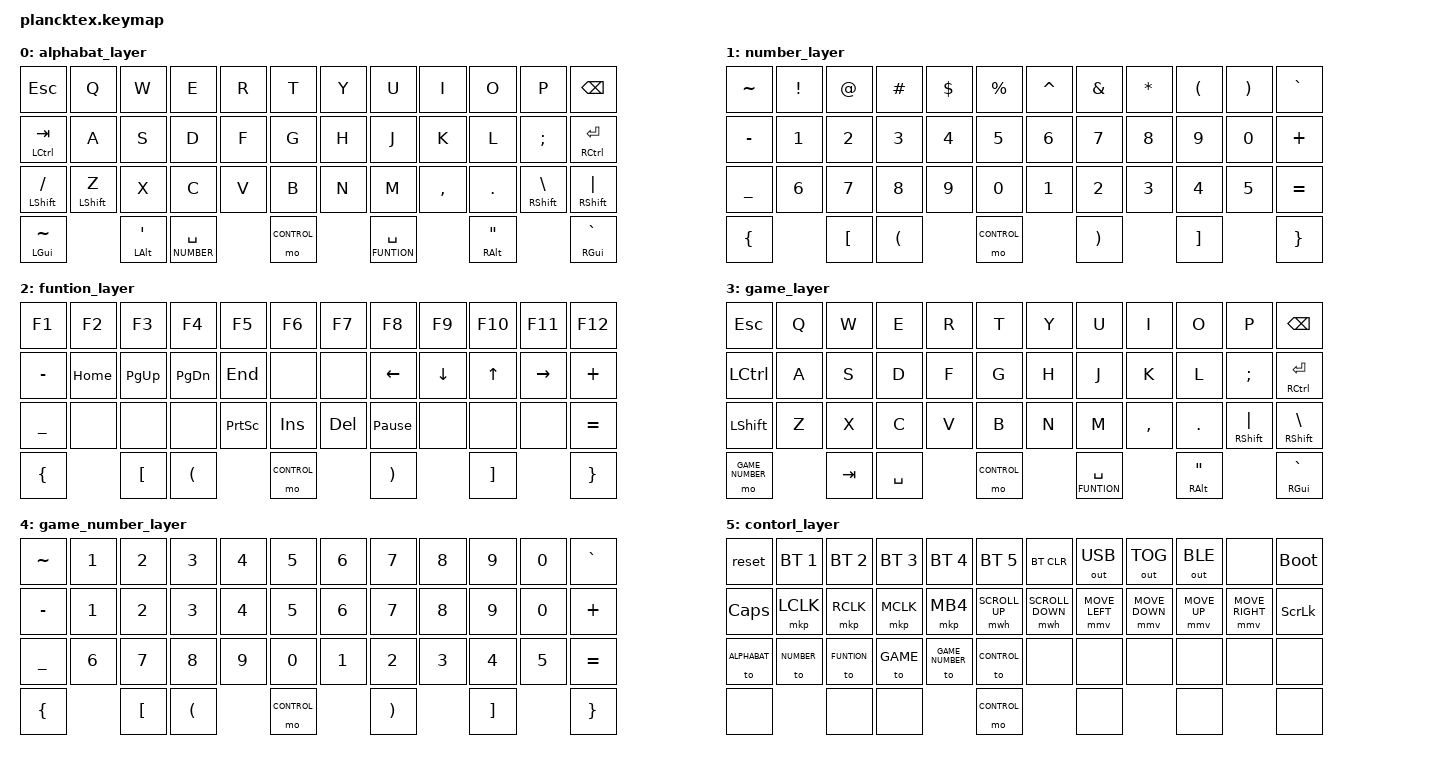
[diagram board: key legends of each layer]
#include <behaviors.dtsi>
#include <dt-bindings/zmk/keys.h>
#include <dt-bindings/zmk/bt.h>
#include <dt-bindings/zmk/outputs.h>
#include <dt-bindings/zmk/mouse.h>

#define ALPHABAT 0
#define NUMBER 1
#define FUNTION 2
#define GAME 3
#define GAME_NUMBER 4
#define CONTROL 5
// #define NONE 6

&kscan0 {
    debounce-press-ms = <10>;
    debounce-release-ms = <10>;
};

/{
  keymap {
	compatible = "zmk,keymap";

	alphabat_layer {
	  bindings = <	
		&kp ESCAPE &kp Q &kp W &kp E &kp R &kp T &kp Y &kp U &kp I                &kp O	&kp P	       &kp BACKSPACE
		&mt LCTRL TAB   	 &kp A &kp S &kp D &kp F &kp G &kp H &kp J &kp K     		&kp L   &kp SEMI       &mt RCTRL ENTER
		&mt LSHFT SLASH 	 &mt LSHFT Z &kp X &kp C &kp V &kp B &kp N &kp M &kp COMMA      &kp DOT &mt RSHFT BACKSLASH &mt RSHFT PIPE 
		&mt LGUI TILDE 	 &mt LALT SINGLE_QUOTE &lt NUMBER SPACE &mo CONTROL &lt FUNTION SPACE &mt RALT DOUBLE_QUOTES &mt RGUI GRAVE
		>;
	};

	number_layer {
	  bindings = <	
		&kp TILDE	 &kp EXCLAMATION &kp AT_SIGN &kp HASH &kp DOLLAR &kp PERCENT &kp CARET &kp AMPERSAND &kp ASTERISK &kp LEFT_PARENTHESIS &kp RIGHT_PARENTHESIS &kp GRAVE
		&kp MINUS	 &kp N1 &kp N2 &kp N3 &kp N4 &kp N5 &kp N6 &kp N7 &kp N8 &kp N9 &kp N0    	      &kp PLUS
		&kp UNDERSCORE &kp N6 &kp N7 &kp N8 &kp N9 &kp N0  &kp N1  &kp N2  &kp N3  &kp N4 	&kp N5		      &kp EQUAL
		&kp LEFT_BRACE &kp LEFT_BRACKET &kp LEFT_PARENTHESIS &mo CONTROL &kp RIGHT_PARENTHESIS &kp RIGHT_BRACKET &kp RIGHT_BRACE
		>;
	};

	funtion_layer {
	  bindings = <	
		&kp F1 &kp F2 &kp F3 &kp F4 &kp F5 &kp F6 &kp F7 &kp F8 &kp F9 &kp F10 &kp F11 &kp F12
		&kp MINUS	 &kp HOME &kp PAGE_UP &kp PAGE_DOWN &kp END &none &none &kp LEFT &kp DOWN &kp UP &kp RIGHT &kp PLUS
		&kp UNDERSCORE &none &none  &none  &kp PRINTSCREEN  &kp INSERT &kp DELETE  &kp PAUSE_BREAK  &none  &none 	&none		     &kp EQUAL
		&kp LEFT_BRACE &kp LEFT_BRACKET &kp LEFT_PARENTHESIS &mo CONTROL &kp RIGHT_PARENTHESIS &kp RIGHT_BRACKET &kp RIGHT_BRACE
		>;
	};

	game_layer {
	  bindings = <	
		&kp ESCAPE	&kp Q &kp W &kp E &kp R &kp T &kp Y &kp U &kp I     &kp O	&kp P	       &kp BACKSPACE
		&kp LCTRL   &kp A &kp S &kp D &kp F &kp G &kp H &kp J &kp K     &kp L   &kp SEMI       &mt RCTRL ENTER
		&kp LSHFT  	&kp Z &kp X &kp C &kp V &kp B &kp N &kp M &kp COMMA &kp DOT &mt RSHFT PIPE &mt RSHFT BACKSLASH
		&mo GAME_NUMBER &kp TAB &kp SPACE &mo CONTROL &lt FUNTION SPACE &mt RALT DOUBLE_QUOTES &mt RGUI GRAVE
		>;
	};

	game_number_layer {
	  bindings = <	
		&kp TILDE		&kp N1 &kp N2 &kp N3 &kp N4 &kp N5 &kp N6 &kp N7 &kp N8 &kp N9 &kp N0	&kp GRAVE
		&kp MINUS		&kp N1 &kp N2 &kp N3 &kp N4 &kp N5 &kp N6 &kp N7 &kp N8 &kp N9 &kp N0  	&kp PLUS
		&kp UNDERSCORE 	&kp N6 &kp N7 &kp N8 &kp N9 &kp N0 &kp N1 &kp N2 &kp N3 &kp N4 &kp N5	&kp EQUAL
		&kp LEFT_BRACE 	&kp LEFT_BRACKET &kp LEFT_PARENTHESIS &mo CONTROL &kp RIGHT_PARENTHESIS &kp RIGHT_BRACKET &kp RIGHT_BRACE
		>;
	};

	contorl_layer {
	  bindings = <
		&reset &bt BT_SEL 1 &bt BT_SEL 2 &bt BT_SEL 3 &bt BT_SEL 4 &bt BT_SEL 5 &bt BT_CLR &out OUT_USB &out OUT_TOG &out OUT_BLE &none &bootloader
		&kp CAPSLOCK  &mkp LCLK &mkp RCLK &mkp MCLK &mkp MB4 &mwh SCROLL_UP &mwh SCROLL_DOWN &mmv MOVE_LEFT &mmv MOVE_DOWN &mmv MOVE_UP &mmv MOVE_RIGHT &kp SCROLLLOCK 
		&to ALPHABAT &to NUMBER  &to FUNTION &to GAME &to GAME_NUMBER &to CONTROL &none  &none &none &none &none &none
		&none       &none &none       &mo CONTROL 	  &none &none       &none
		>;
	};
	
/*
	none_layer {
	  bindings = <
		&none &none &none &none &none &none &none &none &none &none &none &none
		&none &none &none &none &none &none &none &none &none &none &none &none
		&none &none &none &none &none &none &none &none &none &none &none &none
		&none       &none &none       &mo CONTROL 	  &none &none       &none
		>;
	};
*/		
  };
 };

